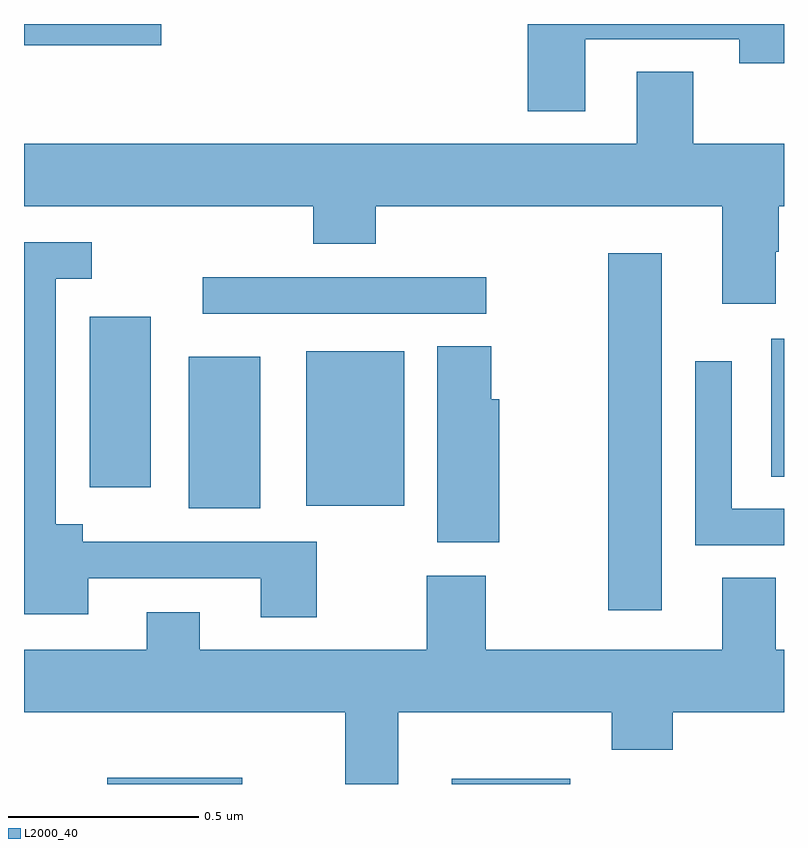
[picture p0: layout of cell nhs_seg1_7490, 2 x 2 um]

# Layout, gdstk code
import gdstk
lib = gdstk.Library(unit=1e-6, precision=1e-09)
def R(c, l, rs):  # rectangles x0, y0, x1, y1
    for r in rs: c.add(gdstk.rectangle(r[:2], r[2:], *l))
def P(c, l, *ps):  # polygons
    for p in ps: c.add(gdstk.Polygon(p, *l))
L2000_40 = (2000, 40)

nhs_seg1_7490 = lib.new_cell('nhs_seg1_7490')
R(nhs_seg1_7490, L2000_40, [(204.219,562.199,204.574,562.216), (205.125,562.199,205.438,562.213), (205.537,562.656,205.678,563.596), (204.434,562.925,204.622,563.323), (204.743,562.931,205,563.338), (204.173,562.98,204.334,563.428), (205.967,563.008,206,563.371), (204.471,563.436,205.216,563.532), (204,564.143,204.361,564.199)])
P(nhs_seg1_7490, L2000_40, [(205.477,564.159),(205.882,564.159),(205.882,564.096),(206,564.096),(206,564.199),(205.325,564.199),(205.325,563.97),(205.477,563.97)],
  [(205.978,563.6),(205.986,563.6),(205.986,563.72),(206,563.72),(206,563.884),(205.761,563.884),(205.761,564.074),(205.613,564.074),(205.613,563.884),(204,563.884),(204,563.72),(204.761,563.72),(204.761,563.621),(204.926,563.621),(204.926,563.72),(205.838,563.72),(205.838,563.463),(205.978,563.463)],
  [(204.771,562.836),(204.154,562.836),(204.154,562.882),(204.084,562.882),(204.084,563.529),(204.178,563.529),(204.178,563.625),(204,563.625),(204,562.646),(204.169,562.646),(204.169,562.74),(204.623,562.74),(204.623,562.638),(204.771,562.638)],
  [(205.251,563.211),(205.23,563.211),(205.23,563.351),(205.088,563.351),(205.088,562.835),(205.251,562.835)],
  [(206,562.923),(205.863,562.923),(205.863,563.311),(205.767,563.311),(205.767,562.827),(206,562.827)],
  [(204.985,562.388),(205.547,562.388),(205.547,562.289),(205.707,562.289),(205.707,562.388),(206,562.388),(206,562.552),(205.978,562.552),(205.978,562.742),(205.838,562.742),(205.838,562.552),(205.215,562.552),(205.215,562.747),(205.06,562.747),(205.06,562.552),(204.463,562.552),(204.463,562.651),(204.323,562.651),(204.323,562.552),(204,562.552),(204,562.388),(204.845,562.388),(204.845,562.199),(204.985,562.199)])

lib.write_gds('nhs_seg1_7490.gds')
